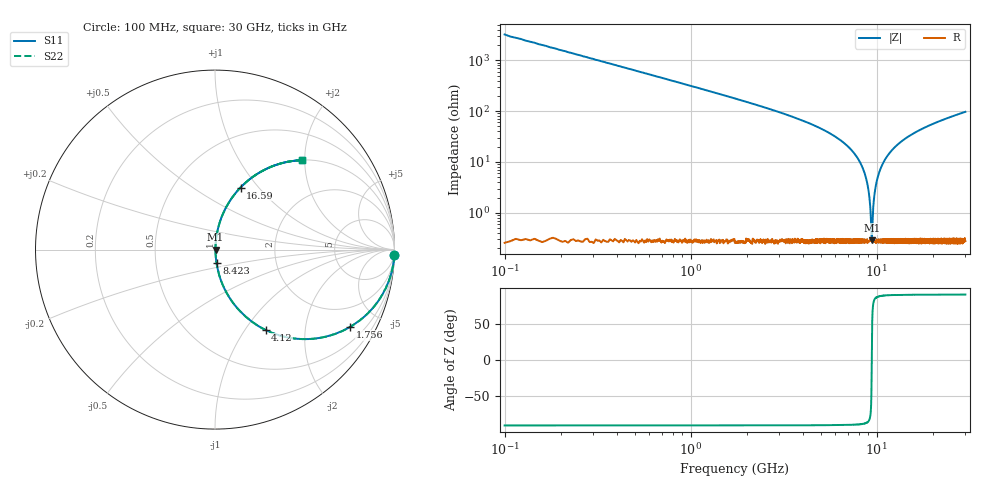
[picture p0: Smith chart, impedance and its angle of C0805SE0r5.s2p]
! AVX Thin Film Operation		Date: April 2012
! Description: Accu-P® Series, Thin Film, SMD, RF Capacitor
! Part Number: 08051J0R5PBTTR
!	100	MHz	-	30.05	GHz
!	Serial	Measurements
#	MHZ	S	MA	R	50
!	S11	S21	S12	S22
!	dB	Phase	dB	Phase	dB	Phase	dB	Phase
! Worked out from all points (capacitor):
!   4010 points, 100 MHz to 30 GHz, reference 50 ohm
!   read as one part in series: C = 500 fF near 249.2 MHz
!   lowest |Z| = 290 mohm at 9.415 GHz (marker M1)
!   series resonance near 9.414 GHz, so ESL is about 570 pH
!   S11 on the Smith chart (normalised r, x): 100 MHz: -0, -64; 1.756 GHz: 1.00, -3.50; 4.12 GHz: 1.01, -1.25; 8.423 GHz: 1.01, -0.15; 16.59 GHz: 1.01, +0.81; 30 GHz: 1.00, +1.94
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100  1 -1.8  0.031 88.2  0.031 88.2  1 -1.8
368.496  0.993 -6.6  0.115 83.4  0.115 83.4  0.993 -6.6
659.366  0.979 -11.8  0.204 78.2  0.204 78.2  0.979 -11.8
1755.725  0.868 -29.7  0.496 60.2  0.496 60.2  0.868 -29.7
4119.98  0.529 -57.8  0.846 31.9  0.846 31.9  0.529 -57.8
5089.549  0.404 -65.8  0.912 23.8  0.912 23.8  0.404 -65.8
7140.559  0.186 -78.5  0.98 10.7  0.98 10.7  0.186 -78.5
8423.372  0.075 -83.6  0.994 4.3  0.994 4.3  0.075 -83.6
9012.572  0.03 -82.9  0.997 1.7  0.997 1.7  0.03 -82.9
9169.194  0.018 -80.1  0.997 1.0  0.997 1.0  0.018 -80.1
9325.817  0.00695 -66.0  0.997 0.4  0.997 0.4  0.00695 -66.0
9415.316  0.00279 1.5  0.997 -0.0  0.997 -0.0  0.00279 1.5
9504.814  0.00703 66.2  0.997 -0.4  0.997 -0.4  0.00703 66.2
9750.935  0.024 81.9  0.997 -1.4  0.997 -1.4  0.024 81.9
10071.64  0.046 83.9  0.996 -2.6  0.996 -2.6  0.046 83.9
10727.96  0.088 83.1  0.993 -5.0  0.993 -5.0  0.088 83.1
11734.82  0.148 80.4  0.986 -8.5  0.986 -8.5  0.148 80.4
15053.73  0.312 71.3  0.947 -18.2  0.947 -18.2  0.312 71.3
16590.12  0.374 67.7  0.925 -21.9  0.925 -21.9  0.374 67.7
20035.82  0.488 60.5  0.87 -29.2  0.87 -29.2  0.488 60.5
25017.91  0.61 52.2  0.79 -37.6  0.79 -37.6  0.61 52.2
30000  0.696 45.7  0.716 -44.1  0.716 -44.1  0.696 45.7
